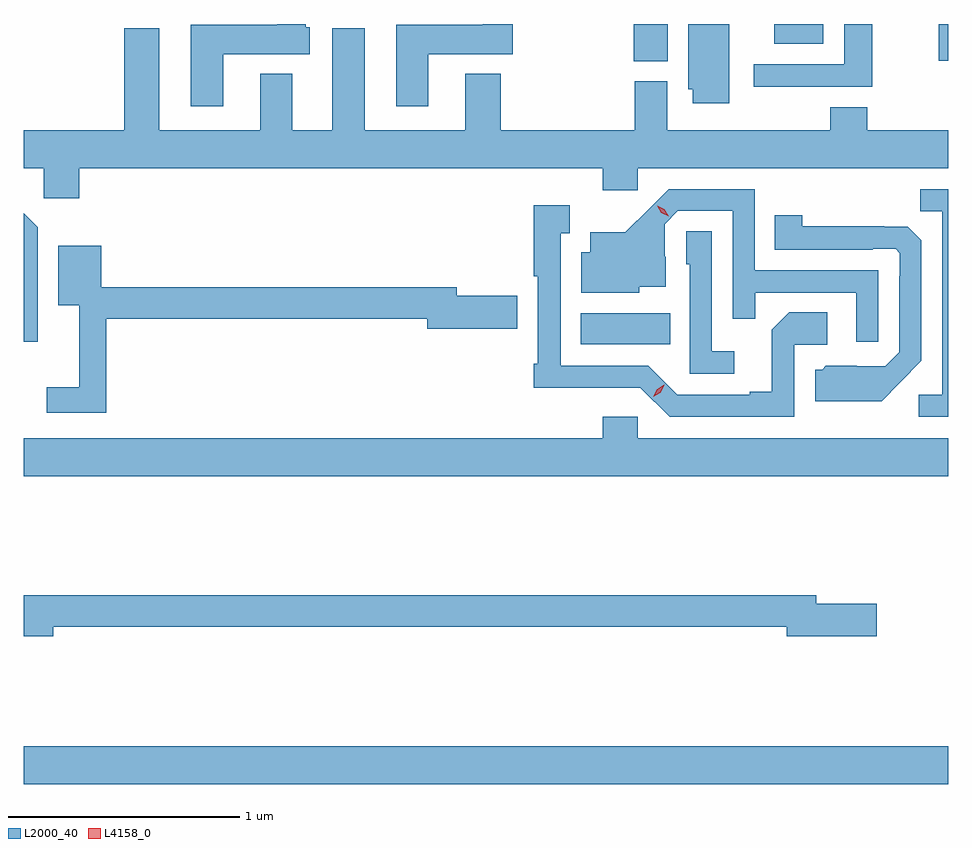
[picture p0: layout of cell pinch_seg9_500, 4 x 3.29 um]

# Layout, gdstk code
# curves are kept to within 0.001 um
import gdstk
lib = gdstk.Library(unit=1e-6, precision=1e-09)
def R(c, l, rs):  # rectangles x0, y0, x1, y1
    for r in rs: c.add(gdstk.rectangle(r[:2], r[2:], *l))
def P(c, l, *ps):  # polygons
    for p in ps: c.add(gdstk.Polygon(p, *l))
L2000_40 = (2000, 40)
L4158_0 = (4158, 0)

pinch_seg9_500 = lib.new_cell('pinch_seg9_500')
R(pinch_seg9_500, L2000_40, [(266.384,1183.1,270.384,1183.264), (268.793,1185.002,269.18,1185.136), (269.024,1186.225,269.17,1186.387), (270.343,1186.229,270.384,1186.387), (269.63,1186.301,269.842,1186.387)])
P(pinch_seg9_500, L2000_40, [(270.054,1186.387),(269.933,1186.387),(269.933,1186.212),(269.541,1186.212),(269.541,1186.115),(270.054,1186.115)],
  [(268.135,1186.256),(268.5,1186.256),(268.5,1186.387),(268.37,1186.387),(268.37,1186.384),(267.995,1186.384),(267.995,1186.032),(268.135,1186.032)],
  [(267.247,1186.256),(267.622,1186.256),(267.622,1186.374),(267.604,1186.374),(267.604,1186.387),(267.482,1186.387),(267.482,1186.384),(267.107,1186.384),(267.107,1186.032),(267.247,1186.032)],
  [(269.437,1186.387),(269.258,1186.387),(269.258,1186.104),(269.279,1186.104),(269.279,1186.044),(269.437,1186.044)],
  [(270.384,1185.928),(270.032,1185.928),(270.032,1186.027),(269.872,1186.027),(269.872,1185.928),(269.167,1185.928),(269.167,1186.14),(269.027,1186.14),(269.027,1185.928),(268.448,1185.928),(268.448,1186.171),(268.295,1186.171),(268.295,1185.928),(267.859,1185.928),(267.859,1186.369),(267.719,1186.369),(267.719,1185.928),(267.547,1185.928),(267.547,1186.171),(267.407,1186.171),(267.407,1185.928),(266.971,1185.928),(266.971,1186.369),(266.819,1186.369),(266.819,1185.928),(266.384,1185.928),(266.384,1185.764),(266.472,1185.764),(266.472,1185.633),(266.624,1185.633),(266.624,1185.764),(268.889,1185.764),(268.889,1185.669),(269.04,1185.669),(269.04,1185.764),(270.384,1185.764)],
  [(270.081,1185.321),(269.547,1185.321),(269.547,1185.672),(269.174,1185.672),(268.987,1185.487),(268.835,1185.487),(268.835,1185.4),(268.796,1185.4),(268.796,1185.224),(269.046,1185.224),(269.046,1185.251),(269.161,1185.251),(269.161,1185.38),(269.157,1185.38),(269.157,1185.522),(269.214,1185.579),(269.451,1185.579),(269.451,1185.112),(269.549,1185.112),(269.549,1185.225),(269.985,1185.225),(269.985,1185.012),(270.081,1185.012)],
  [(270.384,1185.672),(270.262,1185.672),(270.262,1185.577),(270.357,1185.577),(270.357,1184.784),(270.255,1184.784),(270.255,1184.688),(270.384,1184.688)],
  [(269.718,1185),(269.86,1185),(269.86,1185.14),(269.695,1185.14),(269.619,1185.064),(269.619,1184.797),(269.525,1184.797),(269.525,1184.784),(269.211,1184.784),(269.085,1184.91),(268.708,1184.91),(268.708,1185.483),(268.747,1185.483),(268.747,1185.604),(268.59,1185.604),(268.59,1185.295),(268.607,1185.295),(268.607,1184.917),(268.59,1184.917),(268.59,1184.813),(269.052,1184.814),(269.178,1184.688),(269.718,1184.688)],
  [(266.445,1185.507),(266.384,1185.568),(266.384,1185.012),(266.445,1185.012)],
  [(270.175,1184.837),(270.267,1184.93),(270.267,1185.452),(270.208,1185.511),(269.751,1185.512),(269.751,1185.559),(269.632,1185.559),(269.632,1185.411),(270.056,1185.411),(270.056,1185.414),(270.156,1185.414),(270.174,1185.396),(270.174,1185.296),(270.171,1185.296),(270.171,1184.967),(270.111,1184.907),(269.854,1184.908),(269.838,1184.892),(269.807,1184.892),(269.807,1184.756),(270.095,1184.756)],
  [(269.458,1184.971),(269.361,1184.971),(269.361,1185.491),(269.25,1185.491),(269.25,1185.348),(269.265,1185.348),(269.265,1184.874),(269.458,1184.874)],
  [(266.741,1185.112),(268.13,1185.112),(268.13,1185.07),(268.519,1185.07),(268.519,1185.212),(268.258,1185.212),(268.258,1185.248),(266.721,1185.248),(266.721,1185.427),(266.534,1185.427),(266.534,1185.17),(266.624,1185.17),(266.624,1184.815),(266.484,1184.815),(266.484,1184.706),(266.741,1184.706)],
  [(270.384,1184.596),(269.04,1184.596),(269.04,1184.689),(268.889,1184.689),(268.889,1184.596),(266.384,1184.596),(266.384,1184.432),(270.384,1184.432)],
  [(266.512,1183.78),(269.684,1183.78),(269.684,1183.738),(270.073,1183.738),(270.073,1183.88),(269.812,1183.88),(269.812,1183.916),(266.384,1183.916),(266.384,1183.738),(266.512,1183.738)])
P(pinch_seg9_500, L4158_0, [(269.174,1185.556),(269.143,1185.57),(269.125,1185.6),(269.125,1185.6),(269.125,1185.6),(269.156,1185.585),(269.174,1185.556),(269.174,1185.556)],
  [(269.107,1184.774),(269.107,1184.774),(269.124,1184.807),(269.156,1184.826),(269.156,1184.826),(269.156,1184.825),(269.138,1184.793),(269.107,1184.774)])

lib.write_gds('pinch_seg9_500.gds')
